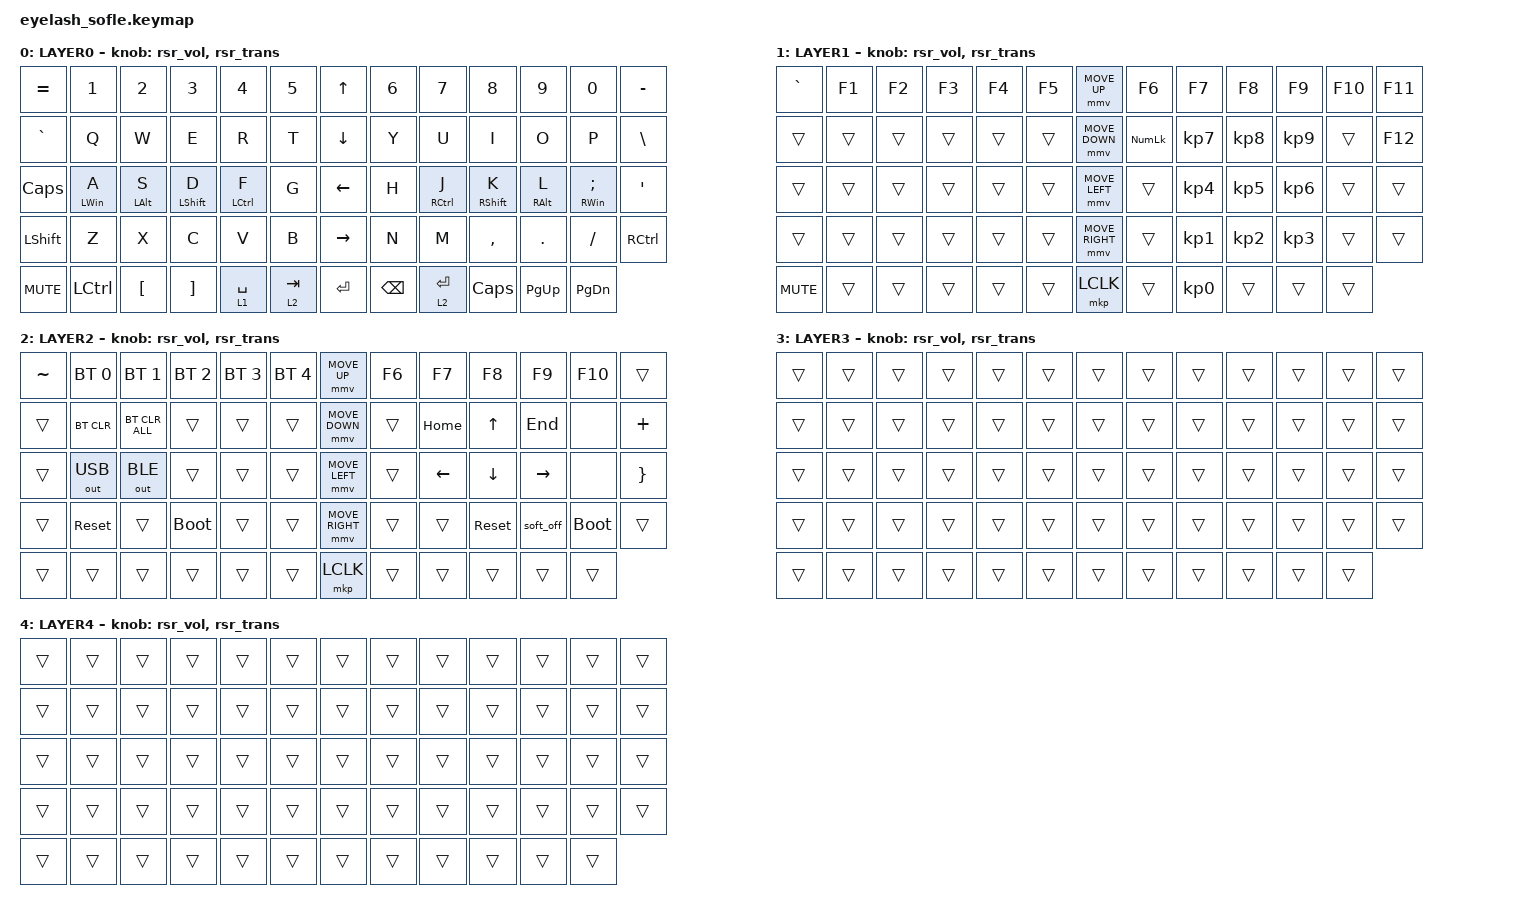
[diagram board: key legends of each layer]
#define ZMK_POINTING_DEFAULT_MOVE_VAL 1200  // 600
#define ZMK_POINTING_DEFAULT_SCRL_VAL 25   // 10

#include <input/processors.dtsi>
#include <zephyr/dt-bindings/input/input-event-codes.h>
#include <behaviors/runtime-sensor-rotate.dtsi>
#include <behaviors.dtsi>
#include <dt-bindings/zmk/bt.h>
#include <dt-bindings/zmk/keys.h>
#include <dt-bindings/zmk/outputs.h>
#include <dt-bindings/zmk/pointing.h>

&mmv_input_listener { input-processors = <&zip_xy_scaler 2 1>; };

&msc_input_listener { input-processors = <&zip_scroll_scaler 2 1>; };

&msc {
    acceleration-exponent = <1>;      // 0
    time-to-max-speed-ms = <100>;       // 300
    delay-ms = <0>;                   // 0
};

&mmv {
    time-to-max-speed-ms = <500>;
    acceleration-exponent = <1>;
    trigger-period-ms = <16>;
};

&soft_off { hold-time-ms = <2000>; };

/ {
    scroll_encoder: scroll_encoder {
        compatible = "zmk,behavior-sensor-rotate";
        #sensor-binding-cells = <0>;
        bindings = <&msc SCRL_DOWN>, <&msc SCRL_UP>;

        tap-ms = <100>;
    };

    behaviors {
        rsr_vol: rsr_vol {
            compatible = "zmk,behavior-runtime-sensor-rotate";
            #sensor-binding-cells = <0>;
            tap-ms = <5>;
            cw-binding = <&kp C_VOL_UP>;
            ccw-binding = <&kp C_VOL_DN>;
        };

        rsr_trans: rsr_trans {
            compatible = "zmk,behavior-runtime-sensor-rotate";
            #sensor-binding-cells = <0>;
            tap-ms = <0>;
        };

        hml: hml {
            compatible = "zmk,behavior-hold-tap";
            label = "HML";
            bindings = <&kp>, <&kp>;

            #binding-cells = <2>;
            flavor = "balanced";
            tapping-term-ms = <280>;
            quick-tap-ms = <175>;
            hold-trigger-key-positions = <11 12 20 21 22 23 24 25 33 34 35 36 37 38 46 47 48 49 50 51 60 61 62 63 7 8 9 10 59>;
        };

        hmr: hmr {
            compatible = "zmk,behavior-hold-tap";
            label = "HMR";
            bindings = <&kp>, <&kp>;

            #binding-cells = <2>;
            flavor = "balanced";
            tapping-term-ms = <280>;
            quick-tap-ms = <175>;
            hold-trigger-key-positions = <0 1 13 14 15 16 17 18 26 27 28 29 30 31 39 40 41 42 43 44 53 54 55 56 57 5 4 3 2>;
        };
    };

    combos {
        compatible = "zmk,combos";

        softoff {
            bindings = <&soft_off>;
            key-positions = <14 28 40>;
        };
    };

    macros {
        SHIFT_MCLK: SHIFT_MCLK {
            compatible = "zmk,behavior-macro";
            #binding-cells = <0>;
            bindings =
                <&macro_press>,
                <&kp LEFT_SHIFT>,
                <&macro_press>,
                <&mkp MB3>,
                <&macro_pause_for_release>,
                <&macro_release>,
                <&kp LEFT_SHIFT &mkp MB3>;

            label = "SHIFT_MCLK";
        };
    };

    keymap {
        compatible = "zmk,keymap";

        layer0 {
            bindings = <
&kp EQUAL   &kp N1       &kp N2            &kp N3             &kp N4        &kp N5       &kp UP_ARROW     &kp N6         &kp N7        &kp N8        &kp N9       &kp N0          &kp MINUS
&kp GRAVE   &kp Q        &kp W             &kp E              &kp R         &kp T        &kp DOWN_ARROW   &kp Y          &kp U         &kp I         &kp O        &kp P           &kp BSLH
&kp CAPS    &hml LWIN A  &hml LALT S       &hml LSHFT D       &hml LCTRL F  &kp G        &kp LEFT_ARROW   &kp H          &hmr RCTRL J  &hmr RSHFT K  &hmr RALT L  &hmr RWIN SEMI  &kp APOS
&kp LSHFT   &kp Z        &kp X             &kp C              &kp V         &kp B        &kp RIGHT_ARROW  &kp N          &kp M         &kp COMMA     &kp DOT      &kp FSLH        &kp RCTRL
&kp C_MUTE  &kp LCTRL    &kp LEFT_BRACKET  &kp RIGHT_BRACKET  &lt 1 SPACE   &lt 2 TAB    &kp ENTER        &kp BACKSPACE  &lt 2 ENTER   &kp CAPS      &kp PG_UP    &kp PG_DN
            >;

            sensor-bindings = <&rsr_vol &rsr_trans>;
            display-name = "LAYER0";
        };

        layer_1 {
            bindings = <
&kp GRAVE   &kp F1  &kp F2  &kp F3  &kp F4  &kp F5    &mmv MOVE_UP     &kp F6          &kp F7           &kp F8           &kp F9           &kp F10  &kp F11
&trans      &trans  &trans  &trans  &trans  &trans    &mmv MOVE_DOWN   &kp KP_NUMLOCK  &kp KP_NUMBER_7  &kp KP_NUMBER_8  &kp KP_NUMBER_9  &trans   &kp F12
&trans      &trans  &trans  &trans  &trans  &trans    &mmv MOVE_LEFT   &trans          &kp KP_NUMBER_4  &kp KP_NUMBER_5  &kp KP_NUMBER_6  &trans   &trans
&trans      &trans  &trans  &trans  &trans  &trans    &mmv MOVE_RIGHT  &trans          &kp KP_NUMBER_1  &kp KP_NUMBER_2  &kp KP_NUMBER_3  &trans   &trans
&kp C_MUTE  &trans  &trans  &trans  &trans  &trans    &mkp LCLK        &trans          &kp KP_NUMBER_0  &trans           &trans           &trans
            >;

            sensor-bindings = <&rsr_vol &rsr_trans>;
            display-name = "LAYER1";
        };

        layer_2 {
            bindings = <
&kp TILDE  &bt BT_SEL 0  &bt BT_SEL 1    &bt BT_SEL 2  &bt BT_SEL 3  &bt BT_SEL 4    &mmv MOVE_UP     &kp F6  &kp F7    &kp F8      &kp F9     &kp F10      &trans
&trans     &bt BT_CLR    &bt BT_CLR_ALL  &trans        &trans        &trans          &mmv MOVE_DOWN   &trans  &kp HOME  &kp UP      &kp END    &none        &kp PLUS
&trans     &out OUT_USB  &out OUT_BLE    &trans        &trans        &trans          &mmv MOVE_LEFT   &trans  &kp LEFT  &kp DOWN    &kp RIGHT  &none        &kp RBRC
&trans     &sys_reset    &trans          &bootloader   &trans        &trans          &mmv MOVE_RIGHT  &trans  &trans    &sys_reset  &soft_off  &bootloader  &trans
&trans     &trans        &trans          &trans        &trans        &trans          &mkp LCLK        &trans  &trans    &trans      &trans     &trans
            >;

            display-name = "LAYER2";
            sensor-bindings = <&rsr_vol &rsr_trans>;
        };

        layer_3 {
            bindings = <
&trans  &trans  &trans  &trans  &trans  &trans    &trans  &trans  &trans  &trans  &trans  &trans  &trans
&trans  &trans  &trans  &trans  &trans  &trans    &trans  &trans  &trans  &trans  &trans  &trans  &trans
&trans  &trans  &trans  &trans  &trans  &trans    &trans  &trans  &trans  &trans  &trans  &trans  &trans
&trans  &trans  &trans  &trans  &trans  &trans    &trans  &trans  &trans  &trans  &trans  &trans  &trans
&trans  &trans  &trans  &trans  &trans  &trans    &trans  &trans  &trans  &trans  &trans  &trans
            >;

            display-name = "LAYER3";
            sensor-bindings = <&rsr_vol &rsr_trans>;
        };

        layer_4 {
            bindings = <
&trans  &trans  &trans  &trans  &trans  &trans    &trans  &trans  &trans  &trans  &trans  &trans  &trans
&trans  &trans  &trans  &trans  &trans  &trans    &trans  &trans  &trans  &trans  &trans  &trans  &trans
&trans  &trans  &trans  &trans  &trans  &trans    &trans  &trans  &trans  &trans  &trans  &trans  &trans
&trans  &trans  &trans  &trans  &trans  &trans    &trans  &trans  &trans  &trans  &trans  &trans  &trans
&trans  &trans  &trans  &trans  &trans  &trans    &trans  &trans  &trans  &trans  &trans  &trans
            >;

            display-name = "LAYER4";
            sensor-bindings = <&rsr_vol &rsr_trans>;
        };
    };
};
